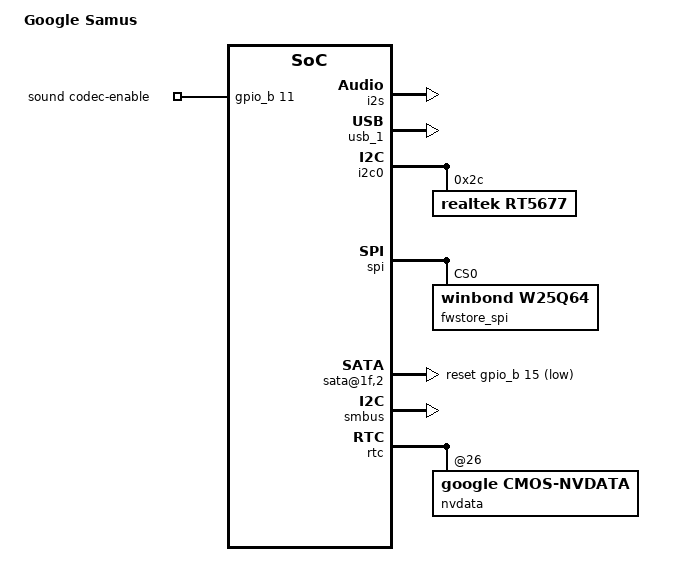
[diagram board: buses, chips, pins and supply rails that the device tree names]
/dts-v1/;

#include <dt-bindings/gpio/x86-gpio.h>

/include/ "skeleton.dtsi"
/include/ "keyboard.dtsi"
/include/ "serial.dtsi"
/include/ "reset.dtsi"
/include/ "rtc.dtsi"
/include/ "tsc_timer.dtsi"

#ifdef CONFIG_CHROMEOS
#include "chromeos-x86.dtsi"
#include "flashmap-x86-ro.dtsi"
#include "flashmap-8mb-rw.dtsi"
#endif

/ {
	model = "Google Samus";
	compatible = "google,samus", "intel,broadwell";

	aliases {
		spi0 = &spi;
		usb0 = &usb_0;
		usb1 = &usb_1;
		cros-ec0 = &cros_ec;
	};

	config {
	       silent_console = <0>;
	};

	cpus {
		#address-cells = <1>;
		#size-cells = <0>;

		cpu@0 {
			device_type = "cpu";
			compatible = "intel,core-i3-gen5";
			reg = <0>;
			intel,apic-id = <0>;
			intel,slow-ramp = <3>;
		};

		cpu@1 {
			device_type = "cpu";
			compatible = "intel,core-i3-gen5";
			reg = <1>;
			intel,apic-id = <1>;
		};

		cpu@2 {
			device_type = "cpu";
			compatible = "intel,core-i3-gen5";
			reg = <2>;
			intel,apic-id = <2>;
		};

		cpu@3 {
			device_type = "cpu";
			compatible = "intel,core-i3-gen5";
			reg = <3>;
			intel,apic-id = <3>;
		};

	};

	chosen {
		stdout-path = "/serial";
	};

	keyboard {
		intel,duplicate-por;
	};

	pch_pinctrl {
		compatible = "intel,x86-broadwell-pinctrl";
		u-boot,dm-pre-reloc;
		reg = <0 0>;

		/* Put this first: it is the default */
		gpio_unused: gpio-unused {
			u-boot,dm-pre-reloc;
			mode-gpio;
			direction = <PIN_INPUT>;
			owner = <OWNER_GPIO>;
			sense-disable;
		};

		gpio_acpi_sci: acpi-sci {
			u-boot,dm-pre-reloc;
			mode-gpio;
			direction = <PIN_INPUT>;
			invert;
			route = <ROUTE_SCI>;
		};

		gpio_acpi_smi: acpi-smi {
			u-boot,dm-pre-reloc;
			mode-gpio;
			direction = <PIN_INPUT>;
			invert;
			route = <ROUTE_SMI>;
		};

		gpio_input: gpio-input {
			u-boot,dm-pre-reloc;
			mode-gpio;
			direction = <PIN_INPUT>;
			owner = <OWNER_GPIO>;
		};

		gpio_input_invert: gpio-input-invert {
			u-boot,dm-pre-reloc;
			mode-gpio;
			direction = <PIN_INPUT>;
			owner = <OWNER_GPIO>;
			invert;
		};

		gpio_native: gpio-native {
			u-boot,dm-pre-reloc;
		};

		gpio_out_high: gpio-out-high {
			u-boot,dm-pre-reloc;
			mode-gpio;
			direction = <PIN_OUTPUT>;
			output-value = <1>;
			owner = <OWNER_GPIO>;
			sense-disable;
		};

		gpio_out_low: gpio-out-low {
			u-boot,dm-pre-reloc;
			mode-gpio;
			direction = <PIN_OUTPUT>;
			output-value = <0>;
			owner = <OWNER_GPIO>;
			sense-disable;
		};

		gpio_pirq: gpio-pirq {
			u-boot,dm-pre-reloc;
			mode-gpio;
			direction = <PIN_INPUT>;
			owner = <OWNER_GPIO>;
			pirq-apic = <PIRQ_APIC_ROUTE>;
		};

		soc_gpio@0 {
			u-boot,dm-pre-reloc;
			config =
				<0 &gpio_unused 0>,	/* unused */
				<1 &gpio_unused 0>,	/* unused */
				<2 &gpio_unused 0>,	/* unused */
				<3 &gpio_unused 0>,	/* unused */
				<4 &gpio_native 0>,	/* native: i2c0_sda_gpio4 */
				<5 &gpio_native 0>,	/* native: i2c0_scl_gpio5 */
				<6 &gpio_native 0>,	/* native: i2c1_sda_gpio6 */
				<7 &gpio_native 0>,	/* native: i2c1_scl_gpio7 */
				<8 &gpio_acpi_sci 0>,	/* pch_lte_wake_l */
				<9 &gpio_input_invert 0>,	/* trackpad_int_l (wake) */
				<10 &gpio_acpi_sci 0>,	/* pch_wlan_wake_l */
				<11 &gpio_unused 0>,	/* unused */
				<12 &gpio_unused 0>,	/* unused */
				<13 &gpio_pirq 3>,	/* trackpad_int_l (pirql) */
				<14 &gpio_pirq 4>,	/* touch_int_l (pirqm) */
				<15 &gpio_unused 0>,	/* unused (strap) */
				<16 &gpio_input 0>,	/* pch_wp */
				<17 &gpio_unused 0>,	/* unused */
				<18 &gpio_unused 0>,	/* unused */
				<19 &gpio_unused 0>,	/* unused */
				<20 &gpio_native 0>,	/* pcie_wlan_clkreq_l */
				<21 &gpio_out_high 0>,	/* pp3300_ssd_en */
				<22 &gpio_unused 0>,	/* unused */
				<23 &gpio_out_low 0>,	/* pp3300_autobahn_en */
				<24 &gpio_unused 0>,	/* unused */
				<25 &gpio_input 0>,	/* ec_in_rw */
				<26 &gpio_unused 0>,	/* unused */
				<27 &gpio_acpi_sci 0>,	/* pch_wake_l */
				<28 &gpio_unused 0>,	/* unused */
				<29 &gpio_unused 0>,	/* unused */
				<30 &gpio_native 0>,	/* native: pch_suswarn_l */
				<31 &gpio_native 0>,	/* native: acok_buf */
				<32 &gpio_native 0>,	/* native: lpc_clkrun_l */
				<33 &gpio_native 0>,	/* native: ssd_devslp */
				<34 &gpio_acpi_smi 0>,	/* ec_smi_l */
				<35 &gpio_acpi_smi 0>,	/* pch_nmi_dbg_l (route in nmi_en) */
				<36 &gpio_acpi_sci 0>,	/* ec_sci_l */
				<37 &gpio_unused 0>,	/* unused */
				<38 &gpio_unused 0>,	/* unused */
				<39 &gpio_unused 0>,	/* unused */
				<40 &gpio_native 0>,	/* native: pch_usb1_oc_l */
				<41 &gpio_native 0>,	/* native: pch_usb2_oc_l */
				<42 &gpio_unused 0>,	/* wlan_disable_l */
				<43 &gpio_out_high 0>,	/* pp1800_codec_en */
				<44 &gpio_unused 0>,	/* unused */
				<45 &gpio_acpi_sci 0>,	/* dsp_int - codec wake */
				<46 &gpio_pirq 6>,	/* hotword_det_l_3v3 (pirqo) - codec irq */
				<47 &gpio_out_low 0>,	/* ssd_reset_l */
				<48 &gpio_unused 0>,	/* unused */
				<49 &gpio_unused 0>,	/* unused */
				<50 &gpio_unused 0>,	/* unused */
				<51 &gpio_unused 0>,	/* unused */
				<52 &gpio_input 0>,	/* sim_det */
				<53 &gpio_unused 0>,	/* unused */
				<54 &gpio_unused 0>,	/* unused */
				<55 &gpio_unused 0>,	/* unused */
				<56 &gpio_unused 0>,	/* unused */
				<57 &gpio_out_high 0>,	/* codec_reset_l */
				<58 &gpio_unused 0>,	/* unused */
				<59 &gpio_out_high 0>,	/* lte_disable_l */
				<60 &gpio_unused 0>,	/* unused */
				<61 &gpio_native 0>,	/* native: pch_sus_stat */
				<62 &gpio_native 0>,	/* native: pch_susclk */
				<63 &gpio_native 0>,	/* native: pch_slp_s5_l */
				<64 &gpio_unused 0>,	/* unused */
				<65 &gpio_input 0>,	/* ram_id3 */
				<66 &gpio_input 0>,	/* ram_id3_old (strap) */
				<67 &gpio_input 0>,	/* ram_id0 */
				<68 &gpio_input 0>,	/* ram_id1 */
				<69 &gpio_input 0>,	/* ram_id2 */
				<70 &gpio_unused 0>,	/* unused */
				<71 &gpio_native 0>,	/* native: modphy_en */
				<72 &gpio_unused 0>,	/* unused */
				<73 &gpio_unused 0>,	/* unused */
				<74 &gpio_unused 0>,	/* unused */
				<75 &gpio_unused 0>,	/* unused */
				<76 &gpio_unused 0>,	/* unused */
				<77 &gpio_unused 0>,	/* unused */
				<78 &gpio_unused 0>,	/* unused */
				<79 &gpio_unused 0>,	/* unused */
				<80 &gpio_unused 0>,	/* unused */
				<81 &gpio_unused 0>,	/* unused */
				<82 &gpio_native 0>,	/* native: ec_rcin_l */
				<83 &gpio_native 0>,	/* gspi0_cs */
				<84 &gpio_native 0>,	/* gspi0_clk */
				<85 &gpio_native 0>,	/* gspi0_miso */
				<86 &gpio_native 0>,	/* gspi0_mosi (strap) */
				<87 &gpio_unused 0>,	/* unused */
				<88 &gpio_unused 0>,	/* unused */
				<89 &gpio_out_high 0>,	/* pp3300_sd_en */
				<90 &gpio_unused 0>,	/* unused */
				<91 &gpio_unused 0>,	/* unused */
				<92 &gpio_unused 0>,	/* unused */
				<93 &gpio_unused 0>,	/* unused */
				<94 &gpio_unused 0>;	/* unused */
		};
	};

	pci {
		compatible = "pci-x86";
		#address-cells = <3>;
		#size-cells = <2>;
		u-boot,dm-pre-reloc;
		ranges = <0x02000000 0x0 0xe0000000 0xe0000000 0 0x10000000
			0x42000000 0x0 0xd0000000 0xd0000000 0 0x10000000
			0x01000000 0x0 0x1000 0x1000 0 0xefff>;

		northbridge@0,0 {
			reg = <0x00000000 0 0 0 0>;
			compatible = "intel,broadwell-northbridge";
			board-id-gpios = <&gpio_c 5 0>, <&gpio_c 4 0>,
					<&gpio_c 3 0>, <&gpio_c 1 0>;
			u-boot,dm-pre-reloc;
			spd {
				#address-cells = <1>;
				#size-cells = <0>;
				u-boot,dm-pre-reloc;
				samsung_4 {
					reg = <6>;
					u-boot,dm-pre-reloc;
					data = [91 20 f1 03 04 11 05 0b
						03 11 01 08 0a 00 50 01
						78 78 90 50 90 11 50 e0
						10 04 3c 3c 01 90 00 00
						00 80 00 00 00 00 00 a8
						00 00 00 00 00 00 00 00
						00 00 00 00 00 00 00 00
						00 00 00 00 0f 11 02 00
						00 00 00 00 00 00 00 00
						00 00 00 00 00 00 00 00
						00 00 00 00 00 00 00 00
						00 00 00 00 00 00 00 00
						00 00 00 00 00 00 00 00
						00 00 00 00 00 00 00 00
						00 00 00 00 00 80 ce 01
						00 00 55 00 00 00 00 00
						4b 34 45 38 45 33 30 34
						45 44 2d 45 47 43 45 20
						20 20 00 00 80 ce 00 00
						00 00 00 00 00 00 00 00
						00 00 00 00 00 00 00 00
						00 00 00 00 00 00 00 00
						00 00 00 00 00 00 00 00
						00 00 00 00 00 00 00 00
						00 00 00 00 00 00 00 00
						00 00 00 00 00 00 00 00
						00 00 00 00 00 00 00 00
						00 00 00 00 00 00 00 00
						00 00 00 00 00 00 00 00
						00 00 00 00 00 00 00 00
						00 00 00 00 00 00 00 00
						00 00 00 00 00 00 00 00];
				};
				hynix-h9ccnnnbltmlar-ntm-lpddr3-32 {
					/*
					 * banks 8, ranks 2, rows 14,
					 * columns 10, density 4096 mb, x32
					 */
					reg = <8>;
					u-boot,dm-pre-reloc;
					data = [91 20 f1 03 04 11 05 0b
						03 11 01 08 0a 00 50 01
						78 78 90 50 90 11 50 e0
						10 04 3c 3c 01 90 00 00
						00 80 00 00 00 00 00 a8
						00 00 00 00 00 00 00 00
						00 00 00 00 00 00 00 00
						00 00 00 00 0f 01 02 00
						00 00 00 00 00 00 00 00
						00 00 00 00 00 00 00 00
						00 00 00 00 00 00 00 00
						00 00 00 00 00 00 00 00
						00 00 00 00 00 00 00 00
						00 00 00 00 00 00 00 00
						00 00 00 00 00 80 ad 00
						00 00 55 00 00 00 00 00
						48 39 43 43 4e 4e 4e 42
						4c 54 4d 4c 41 52 2d 4e
						54 4d 00 00 80 ad 00 00
						00 00 00 00 00 00 00 00
						00 00 00 00 00 00 00 00
						00 00 00 00 00 00 00 00
						00 00 00 00 00 00 00 00
						00 00 00 00 00 00 00 00
						00 00 00 00 00 00 00 00
						00 00 00 00 00 00 00 00
						00 00 00 00 00 00 00 00
						00 00 00 00 00 00 00 00
						00 00 00 00 00 00 00 00
						00 00 00 00 00 00 00 00
						00 00 00 00 00 00 00 00
						00 00 00 00 00 00 00 00];
					};
				samsung_8 {
					reg = <10>;
					u-boot,dm-pre-reloc;
					data = [91 20 f1 03 04 12 05 0a
						03 11 01 08 0a 00 50 01
						78 78 90 50 90 11 50 e0
						10 04 3c 3c 01 90 00 00
						00 80 00 00 00 00 00 a8
						00 00 00 00 00 00 00 00
						00 00 00 00 00 00 00 00
						00 00 00 00 0f 11 02 00
						00 00 00 00 00 00 00 00
						00 00 00 00 00 00 00 00
						00 00 00 00 00 00 00 00
						00 00 00 00 00 00 00 00
						00 00 00 00 00 00 00 00
						00 00 00 00 00 00 00 00
						00 00 00 00 00 80 ce 01
						00 00 55 00 00 00 00 00
						4b 34 45 36 45 33 30 34
						45 44 2d 45 47 43 45 20
						20 20 00 00 80 ce 00 00
						00 00 00 00 00 00 00 00
						00 00 00 00 00 00 00 00
						00 00 00 00 00 00 00 00
						00 00 00 00 00 00 00 00
						00 00 00 00 00 00 00 00
						00 00 00 00 00 00 00 00
						00 00 00 00 00 00 00 00
						00 00 00 00 00 00 00 00
						00 00 00 00 00 00 00 00
						00 00 00 00 00 00 00 00
						00 00 00 00 00 00 00 00
						00 00 00 00 00 00 00 00
						00 00 00 00 00 00 00 00];
				};
				hynix-h9ccnnnbltmlar-ntm-lpddr3-16 {
					/*
					 * banks 8, ranks 2, rows 14,
					 * columns 11, density 4096 mb, x16
					 */
					reg = <12>;
					u-boot,dm-pre-reloc;
					data = [91 20 f1 03 04 12 05 0a
						03 11 01 08 0a 00 50 01
						78 78 90 50 90 11 50 e0
						10 04 3c 3c 01 90 00 00
						00 80 00 00 00 00 00 a8
						00 00 00 00 00 00 00 00
						00 00 00 00 00 00 00 00
						00 00 00 00 0f 01 02 00
						00 00 00 00 00 00 00 00
						00 00 00 00 00 00 00 00
						00 00 00 00 00 00 00 00
						00 00 00 00 00 00 00 00
						00 00 00 00 00 00 00 00
						00 00 00 00 00 00 00 00
						00 00 00 00 00 80 ad 00
						00 00 55 00 00 00 00 00
						48 39 43 43 4e 4e 4e 42
						4c 54 4d 4c 41 52 2d 4e
						54 4d 00 00 80 ad 00 00
						00 00 00 00 00 00 00 00
						00 00 00 00 00 00 00 00
						00 00 00 00 00 00 00 00
						00 00 00 00 00 00 00 00
						00 00 00 00 00 00 00 00
						00 00 00 00 00 00 00 00
						00 00 00 00 00 00 00 00
						00 00 00 00 00 00 00 00
						00 00 00 00 00 00 00 00
						00 00 00 00 00 00 00 00
						00 00 00 00 00 00 00 00
						00 00 00 00 00 00 00 00
						00 00 00 00 00 00 00 00];
				};
				hynix-h9ccnnncltmlar-lpddr3 {
					/*
					 * banks 8, ranks 2, rows 15,
					 * columns 11, density 8192 mb, x16
					 */
					reg = <13>;
					u-boot,dm-pre-reloc;
					data = [91 20 f1 03 05 1a 05 0a
						03 11 01 08 0a 00 50 01
						78 78 90 50 90 11 50 e0
						90 06 3c 3c 01 90 00 00
						00 80 00 00 00 00 00 a8
						00 00 00 00 00 00 00 00
						00 00 00 00 00 00 00 00
						00 00 00 00 0f 01 02 00
						00 00 00 00 00 00 00 00
						00 00 00 00 00 00 00 00
						00 00 00 00 00 00 00 00
						00 00 00 00 00 00 00 00
						00 00 00 00 00 00 00 00
						00 00 00 00 00 00 00 00
						00 00 00 00 00 80 ad 00
						00 00 55 00 00 00 00 00
						48 39 43 43 4e 4e 4e 43
						4c 54 4d 4c 41 52 00 00
						00 00 00 00 80 ad 00 00
						00 00 00 00 00 00 00 00
						00 00 00 00 00 00 00 00
						00 00 00 00 00 00 00 00
						00 00 00 00 00 00 00 00
						00 00 00 00 00 00 00 00
						00 00 00 00 00 00 00 00
						00 00 00 00 00 00 00 00
						00 00 00 00 00 00 00 00
						00 00 00 00 00 00 00 00
						00 00 00 00 00 00 00 00
						00 00 00 00 00 00 00 00
						00 00 00 00 00 00 00 00
						00 00 00 00 00 00 00 00];
				};
				elpida-edfb232a1ma {
					/*
					 * banks 8, ranks 2, rows 15,
					 * columns 11, density 8192 mb, x16
					 */
					reg = <15>;
					u-boot,dm-pre-reloc;
					data = [91 20 f1 03 05 1a 05 0a
						03 11 01 08 0a 00 50 01
						78 78 90 50 90 11 50 e0
						90 06 3c 3c 01 90 00 00
						00 80 00 00 00 00 00 a8
						00 00 00 00 00 00 00 00
						00 00 00 00 00 00 00 00
						00 00 00 00 0f 01 02 00
						00 00 00 00 00 00 00 00
						00 00 00 00 00 00 00 00
						00 00 00 00 00 00 00 00
						00 00 00 00 00 00 00 00
						00 00 00 00 00 00 00 00
						00 00 00 00 00 00 00 00
						00 00 00 00 00 02 fe 00
						00 00 00 00 00 00 00 00
						45 44 46 42 32 33 32 41
						31 4d 41 2d 47 44 2d 46
						00 00 00 00 02 fe 00 00
						00 00 00 00 00 00 00 00
						00 00 00 00 00 00 00 00
						00 00 00 00 00 00 00 00
						00 00 00 00 00 00 00 00
						00 00 00 00 00 00 00 00
						00 00 00 00 00 00 00 00
						00 00 00 00 00 00 00 00
						00 00 00 00 00 00 00 00
						00 00 00 00 00 00 00 00
						00 00 00 00 00 00 00 00
						00 00 00 00 00 00 00 00
						00 00 00 00 00 00 00 00
						00 00 00 00 00 00 00 00];
				};
			};
		};

		gma@2,0 {
			reg = <0x00001000 0 0 0 0>;
			compatible = "intel,broadwell-igd";
			intel,dp-hotplug = <6 6 6>;
			intel,port-select = <1>;	/* eDP */
			intel,power-cycle-delay = <6>;
			intel,power-up-delay = <2000>;
			intel,power-down-delay = <500>;
			intel,power-backlight-on-delay = <2000>;
			intel,power-backlight-off-delay = <2000>;
			intel,cpu-backlight = <0x00000200>;
			intel,pch-backlight = <0x04000200>;
			intel,pre-graphics-delay = <200>;
		};

		adsp@13,0 {
			reg = <0x00009800 0 0 0 0>;
			compatible = "intel,wildcatpoint-adsp";
			intel,adsp-d3-pg-enable = <0>;
			intel,adsp-sram-pg-enable = <0>;
			intel,sio-acpi-mode;
			#address-cells = <1>;
			#size-cells = <0>;

			i2s: shim {
				compatible = "intel,broadwell-i2s";
				#sound-dai-cells = <1>;
				reg = <0xfb000 0xfc000 0xfd000>;
			};
		};

		usb_1: usb@14,0 {
			reg = <0x0000a000 0 0 0 0>;
			compatible = "xhci-pci";
		};

		i2c0: i2c@15,1 {
			reg = <0x0000a900 0 0 0 0>;
			compatible = "snps,designware-i2c";
			#address-cells = <1>;
			#size-cells = <0>;

			rt5677: rt5677@2c {
				compatible = "realtek,rt5677";
				#sound-dai-cells = <1>;
				reg = <0x2c>;
			};
		};

		me@16,0 {
			reg = <0x0000b000 0 0 0 0>;
			compatible = "intel,me";
			u-boot,dm-pre-reloc;
		};

		usb_0: usb@1d,0 {
			status = "disabled";
			reg = <0x0000e800 0 0 0 0>;
			compatible = "ehci-pci";
		};

		pch: pch@1f,0 {
			reg = <0x0000f800 0 0 0 0>;
			compatible = "intel,broadwell-pch";
			u-boot,dm-pre-reloc;
			#address-cells = <1>;
			#size-cells = <1>;
			intel,pirq-routing = <0x8b 0x8a 0x8b 0x8b
						0x80 0x80 0x80 0x80>;
			intel,gpi-routing = <0 0 0 0 0 0 0 2
						1 0 0 0 0 0 0 0>;
			/* Enable EC SMI source */
			intel,alt-gp-smi-enable = <0x0040>;

			/* EC-SCI is GPIO36 */
			intel,gpe0-en = <0 0x10 0 0>;

			power-enable-gpio = <&gpio_a 23 0>;

			spi: spi {
				u-boot,dm-pre-reloc;
				#address-cells = <1>;
				#size-cells = <0>;
				compatible = "intel,ich9-spi";
				fwstore_spi: spi-flash@0 {
					u-boot,dm-pre-reloc;
					#size-cells = <1>;
					#address-cells = <1>;
					reg = <0>;
					compatible = "winbond,w25q64",
							"jedec,spi-nor";
					memory-map = <0xff800000 0x00800000>;
					rw-mrc-cache {
						u-boot,dm-pre-reloc;
						label = "rw-mrc-cache";
						reg = <0x003e0000 0x00010000>;
					};
				};
			};

			gpio_a: gpioa {
				compatible = "intel,broadwell-gpio";
				u-boot,dm-pre-reloc;
				#gpio-cells = <2>;
				gpio-controller;
				reg = <0 0>;
				bank-name = "A";
			};

			gpio_b: gpiob {
				compatible = "intel,broadwell-gpio";
				u-boot,dm-pre-reloc;
				#gpio-cells = <2>;
				gpio-controller;
				reg = <1 0>;
				bank-name = "B";
			};

			gpio_c: gpioc {
				compatible = "intel,broadwell-gpio";
				u-boot,dm-pre-reloc;
				#gpio-cells = <2>;
				gpio-controller;
				reg = <2 0>;
				bank-name = "C";
			};

			lpc {
				compatible = "intel,broadwell-lpc";
				#address-cells = <1>;
				#size-cells = <0>;
				u-boot,dm-pre-reloc;
				intel,gen-dec = <0x800 0xfc 0x900 0xfc>;
				cros_ec: cros-ec {
					u-boot,dm-pre-reloc;
					compatible = "google,cros-ec-lpc";
					reg = <0x204 1 0x200 1 0x880 0x80>;

					/*
					 * Describes the flash memory within
					 * the EC
					 */
					#address-cells = <1>;
					#size-cells = <1>;
					flash@8000000 {
						reg = <0x08000000 0x20000>;
						erase-value = <0xff>;
					};
				};
			};
		};

		sata@1f,2 {
			compatible = "intel,wildcatpoint-ahci";
			reg = <0x0000fa00 0 0 0 0>;
			u-boot,dm-pre-proper;
			intel,sata-mode = "ahci";
			intel,sata-port-map = <1>;
			intel,sata-port0-gen3-tx = <0x72>;
			reset-gpio = <&gpio_b 15 GPIO_ACTIVE_LOW>;
		};

		smbus: smbus@1f,3 {
			compatible = "intel,ich-i2c";
			reg = <0x0000fb00 0 0 0 0>;
			u-boot,dm-pre-reloc;
		};
	};

	tpm {
		u-boot,dm-pre-reloc;
		reg = <0xfed40000 0x5000>;
		compatible = "infineon,slb9635lpc";
		secdata {
			u-boot,dm-pre-reloc;
			compatible = "google,tpm-secdata";
		};
	};

	microcode {
		u-boot,dm-pre-reloc;
		update@0 {
			u-boot,dm-pre-reloc;
#include "microcode/mc0306d4_00000018.dtsi"
		};
	};

	sound {
		compatible = "google,samus-sound";
		codec-enable-gpio = <&gpio_b 11 GPIO_ACTIVE_HIGH>;
		cpu {
			sound-dai = <&i2s 0>;
		};

		codec {
			sound-dai = <&rt5677 0>;
		};
	};

};

&rtc {
	#address-cells = <1>;
	#size-cells = <0>;
	nvdata {
		u-boot,dm-pre-reloc;
		compatible = "google,cmos-nvdata";
		reg = <0x26>;
	};
};
